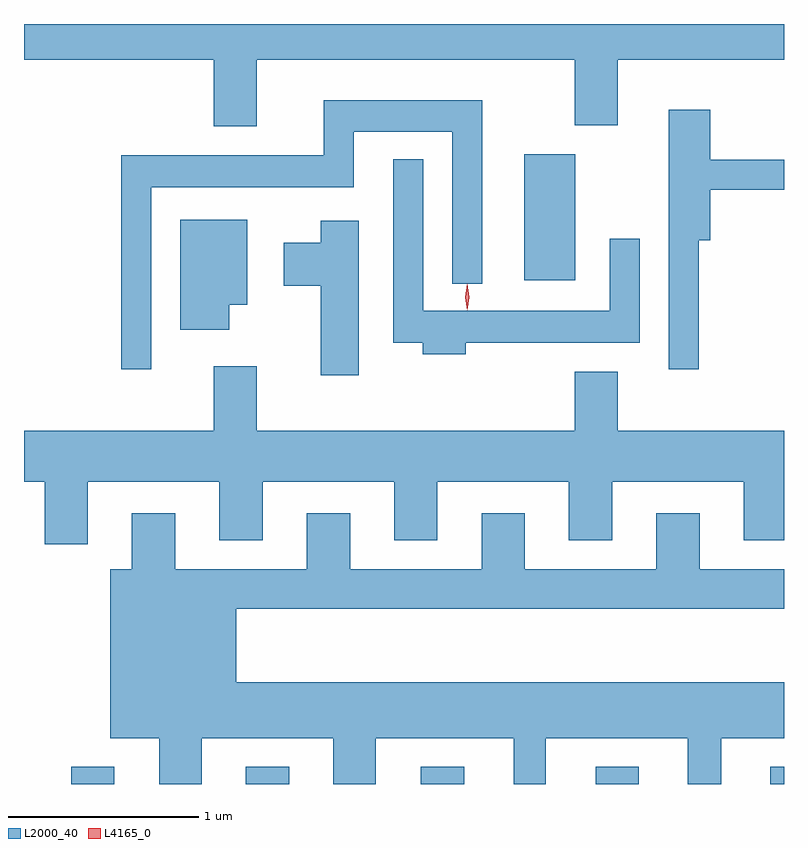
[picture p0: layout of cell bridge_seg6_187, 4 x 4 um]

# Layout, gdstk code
import gdstk
lib = gdstk.Library(unit=1e-6, precision=1e-09)
def R(c, l, rs):  # rectangles x0, y0, x1, y1
    for r in rs: c.add(gdstk.rectangle(r[:2], r[2:], *l))
def A(c, l, x, y, w, h, nx, ny, dx, dy):  # array of equal rectangles
    R(c, l, [(x+i*dx, y+j*dy, x+i*dx+w, y+j*dy+h) for i in range(nx) for j in range(ny)])
def P(c, l, *ps):  # polygons
    for p in ps: c.add(gdstk.Polygon(p, *l))
L2000_40 = (2000, 40)
L4165_0 = (4165, 0)

bridge_seg6_187 = lib.new_cell('bridge_seg6_187')
A(bridge_seg6_187, L2000_40, 1043.891, 1577.304, 0.228, 0.09, 4, 1, 0.92, 0)
R(bridge_seg6_187, L2000_40, [(1047.571,1577.304,1047.643,1577.394), (1046.276,1579.956,1046.544,1580.619)])
P(bridge_seg6_187, L2000_40, [(1044.869,1581.116),(1046.541,1581.116),(1046.541,1580.771),(1046.769,1580.771),(1046.769,1581.116),(1047.643,1581.116),(1047.643,1581.304),(1043.643,1581.304),(1043.643,1581.116),(1044.641,1581.116),(1044.641,1580.766),(1044.869,1580.766)],
  [(1044.314,1580.446),(1045.379,1580.446),(1045.379,1580.736),(1045.896,1580.736),(1045.896,1579.938),(1046.054,1579.938),(1046.054,1580.904),(1045.221,1580.904),(1045.221,1580.614),(1044.156,1580.614),(1044.156,1579.488),(1044.314,1579.488)],
  [(1047.194,1580.166),(1047.254,1580.166),(1047.254,1580.431),(1047.643,1580.431),(1047.643,1580.589),(1047.254,1580.589),(1047.254,1580.854),(1047.036,1580.854),(1047.036,1579.488),(1047.194,1579.488)],
  [(1045.969,1579.626),(1046.884,1579.626),(1046.884,1580.173),(1046.726,1580.173),(1046.726,1579.794),(1045.744,1579.794),(1045.744,1580.593),(1045.586,1580.593),(1045.586,1579.626),(1045.741,1579.626),(1045.741,1579.566),(1045.969,1579.566)],
  [(1044.724,1579.826),(1044.819,1579.826),(1044.819,1580.274),(1044.466,1580.274),(1044.466,1579.696),(1044.724,1579.696)],
  [(1045.404,1580.269),(1045.206,1580.269),(1045.206,1580.154),(1045.011,1580.154),(1045.011,1579.926),(1045.206,1579.926),(1045.206,1579.456),(1045.404,1579.456)],
  [(1044.869,1579.504),(1044.641,1579.504),(1044.641,1579.164),(1043.643,1579.164),(1043.643,1578.896),(1043.751,1578.896),(1043.751,1578.566),(1043.979,1578.566),(1043.979,1578.896),(1044.671,1578.896),(1044.671,1578.586),(1044.899,1578.586),(1044.899,1578.896),(1045.591,1578.896),(1045.591,1578.586),(1045.819,1578.586),(1045.819,1578.896),(1046.511,1578.896),(1046.511,1578.586),(1046.739,1578.586),(1046.739,1578.896),(1047.431,1578.896),(1047.431,1578.586),(1047.643,1578.586),(1047.643,1579.164),(1046.769,1579.164),(1046.769,1579.474),(1046.541,1579.474),(1046.541,1579.164),(1044.869,1579.164)],
  [(1044.579,1577.546),(1045.271,1577.546),(1045.271,1577.304),(1045.494,1577.304),(1045.494,1577.546),(1046.221,1577.546),(1046.221,1577.304),(1046.389,1577.304),(1046.389,1577.546),(1047.136,1577.546),(1047.136,1577.304),(1047.314,1577.304),(1047.314,1577.546),(1047.643,1577.546),(1047.643,1577.839),(1044.759,1577.839),(1044.759,1578.226),(1047.643,1578.226),(1047.643,1578.434),(1047.199,1578.434),(1047.199,1578.729),(1046.971,1578.729),(1046.971,1578.434),(1046.279,1578.434),(1046.279,1578.729),(1046.051,1578.729),(1046.051,1578.434),(1045.359,1578.434),(1045.359,1578.729),(1045.131,1578.729),(1045.131,1578.434),(1044.439,1578.434),(1044.439,1578.729),(1044.211,1578.729),(1044.211,1578.434),(1044.096,1578.434),(1044.096,1577.546),(1044.356,1577.546),(1044.356,1577.304),(1044.579,1577.304)])
P(bridge_seg6_187, L4165_0, [(1045.976,1579.797),(1045.976,1579.798),(1045.966,1579.867),(1045.976,1579.936),(1045.976,1579.936),(1045.977,1579.936),(1045.986,1579.867),(1045.977,1579.798)],
  [(1045.976,1579.8),(1045.976,1579.8),(1045.966,1579.866),(1045.976,1579.932),(1045.976,1579.933),(1045.977,1579.932),(1045.986,1579.866),(1045.977,1579.8)])

lib.write_gds('bridge_seg6_187.gds')
